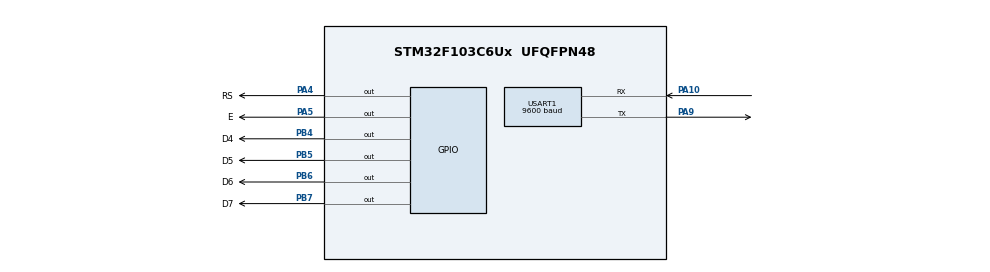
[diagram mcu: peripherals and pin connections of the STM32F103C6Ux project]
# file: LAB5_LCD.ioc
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Mcu.Family=STM32F1
Mcu.Name=STM32F103C6Ux
Mcu.Package=UFQFPN48
NVIC.PriorityGroup=NVIC_PRIORITYGROUP_4
NVIC.USART1_IRQn=true\:0\:0\:false\:false\:true\:true\:true
PA10.Mode=Asynchronous
PA10.Signal=USART1_RX
PA4.GPIO_Label=RS
PA4.Signal=GPIO_Output
PA5.GPIO_Label=E
PA5.Signal=GPIO_Output
PA9.Mode=Asynchronous
PA9.Signal=USART1_TX
PB4.GPIO_Label=D4
PB4.Signal=GPIO_Output
PB5.GPIO_Label=D5
PB5.Signal=GPIO_Output
PB6.GPIO_Label=D6
PB6.Signal=GPIO_Output
PB7.GPIO_Label=D7
PB7.Signal=GPIO_Output
ProjectManager.HeapSize=0x200
ProjectManager.StackSize=0x400
ProjectManager.TargetToolchain=STM32CubeIDE
RCC.APB1Freq_Value=8000000
RCC.APB2Freq_Value=8000000
USART1.BaudRate=9600
USART1.VirtualMode=VM_ASYNC
VP_SYS_VS_ND.Mode=No_Debug
board=custom

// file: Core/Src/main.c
/* USER CODE BEGIN Header */
/**
  ******************************************************************************
  * @file           : main.c
  * @brief          : Main program body
  ******************************************************************************
  * @attention
  *
  * <h2><center>&copy; Copyright (c) 2026 STMicroelectronics.
  * All rights reserved.</center></h2>
  *
  * This software component is licensed by ST under BSD 3-Clause license,
  * the "License"; You may not use this file except in compliance with the
  * License. You may obtain a copy of the License at:
  *                        opensource.org/licenses/BSD-3-Clause
  *
  ******************************************************************************
  */
/* USER CODE END Header */
#include "main.h"

UART_HandleTypeDef huart1;

void SystemClock_Config(void);
static void MX_GPIO_Init(void);
static void MX_USART1_UART_Init(void);

int main(void)
{

  /* MCU Configuration--------------------------------------------------------*/

  /* Reset of all peripherals, Initializes the Flash interface and the Systick. */
  HAL_Init();

  /* Configure the system clock */
  SystemClock_Config();

  /* Initialize all configured peripherals */
  MX_GPIO_Init();
  MX_USART1_UART_Init();
  /* USER CODE BEGIN 2 */
  Application_Init();
  lcd_init(16, 2);
  lcd_clear();
  lcd_goto(0, 0);
  lcd_print("Hello STM32!");
  Communication_StartReceive();
  /* USER CODE END 2 */

  /* Infinite loop */
  while (1)
  {

    /* USER CODE BEGIN 3 */
	  Communication_Process();
  }
  /* USER CODE END 3 */
}

void SystemClock_Config(void)
{
  RCC_OscInitTypeDef RCC_OscInitStruct = {0};
  RCC_ClkInitTypeDef RCC_ClkInitStruct = {0};

  /** Initializes the RCC Oscillators according to the specified parameters
  * in the RCC_OscInitTypeDef structure.
  */
  RCC_OscInitStruct.OscillatorType = RCC_OSCILLATORTYPE_HSI;
  RCC_OscInitStruct.HSIState = RCC_HSI_ON;
  RCC_OscInitStruct.HSICalibrationValue = RCC_HSICALIBRATION_DEFAULT;
  RCC_OscInitStruct.PLL.PLLState = RCC_PLL_NONE;
  if (HAL_RCC_OscConfig(&RCC_OscInitStruct) != HAL_OK)
  {
    Error_Handler();
  }
  /** Initializes the CPU, AHB and APB buses clocks
  */
  RCC_ClkInitStruct.ClockType = RCC_CLOCKTYPE_HCLK|RCC_CLOCKTYPE_SYSCLK
                              |RCC_CLOCKTYPE_PCLK1|RCC_CLOCKTYPE_PCLK2;
  RCC_ClkInitStruct.SYSCLKSource = RCC_SYSCLKSOURCE_HSI;
  RCC_ClkInitStruct.AHBCLKDivider = RCC_SYSCLK_DIV1;
  RCC_ClkInitStruct.APB1CLKDivider = RCC_HCLK_DIV1;
  RCC_ClkInitStruct.APB2CLKDivider = RCC_HCLK_DIV1;

  if (HAL_RCC_ClockConfig(&RCC_ClkInitStruct, FLASH_LATENCY_0) != HAL_OK)
  {
    Error_Handler();
  }
}

static void MX_USART1_UART_Init(void)
{

  huart1.Instance = USART1;
  huart1.Init.BaudRate = 9600;
  huart1.Init.WordLength = UART_WORDLENGTH_8B;
  huart1.Init.StopBits = UART_STOPBITS_1;
  huart1.Init.Parity = UART_PARITY_NONE;
  huart1.Init.Mode = UART_MODE_TX_RX;
  huart1.Init.HwFlowCtl = UART_HWCONTROL_NONE;
  huart1.Init.OverSampling = UART_OVERSAMPLING_16;
  if (HAL_UART_Init(&huart1) != HAL_OK)
  {
    Error_Handler();
  }

}

static void MX_GPIO_Init(void)
{
  GPIO_InitTypeDef GPIO_InitStruct = {0};

  /* GPIO Ports Clock Enable */
  __HAL_RCC_GPIOA_CLK_ENABLE();
  __HAL_RCC_GPIOB_CLK_ENABLE();

  /*Configure GPIO pin Output Level */
  HAL_GPIO_WritePin(GPIOA, RS_Pin|E_Pin, GPIO_PIN_RESET);

  /*Configure GPIO pin Output Level */
  HAL_GPIO_WritePin(GPIOB, D4_Pin|D5_Pin|D6_Pin|D7_Pin, GPIO_PIN_RESET);

  /*Configure GPIO pins : RS_Pin E_Pin */
  GPIO_InitStruct.Pin = RS_Pin|E_Pin;
  GPIO_InitStruct.Mode = GPIO_MODE_OUTPUT_PP;
  GPIO_InitStruct.Pull = GPIO_NOPULL;
  GPIO_InitStruct.Speed = GPIO_SPEED_FREQ_LOW;
  HAL_GPIO_Init(GPIOA, &GPIO_InitStruct);

  /*Configure GPIO pins : D4_Pin D5_Pin D6_Pin D7_Pin */
  GPIO_InitStruct.Pin = D4_Pin|D5_Pin|D6_Pin|D7_Pin;
  GPIO_InitStruct.Mode = GPIO_MODE_OUTPUT_PP;
  GPIO_InitStruct.Pull = GPIO_NOPULL;
  GPIO_InitStruct.Speed = GPIO_SPEED_FREQ_LOW;
  HAL_GPIO_Init(GPIOB, &GPIO_InitStruct);

}

/* USER CODE BEGIN 4 */
void HAL_UART_TxCpltCallback(UART_HandleTypeDef *huart){
    if (huart->Instance == USART1){
        Communication_TxCallback();
    }
}
void HAL_UART_RxCpltCallback(UART_HandleTypeDef *huart){
	if (huart->Instance == USART1){
		Communication_RxCallback();
	}
}
void HAL_UART_ErrorCallback(UART_HandleTypeDef *huart){
  if (huart->Instance == USART1){
    Communication_ErrorCallback();
  }
}
/* USER CODE END 4 */

void Error_Handler(void)
{
  __disable_irq();
  while (1)
  {
  }
}

/************************ (C) COPYRIGHT STMicroelectronics *****END OF FILE****/
